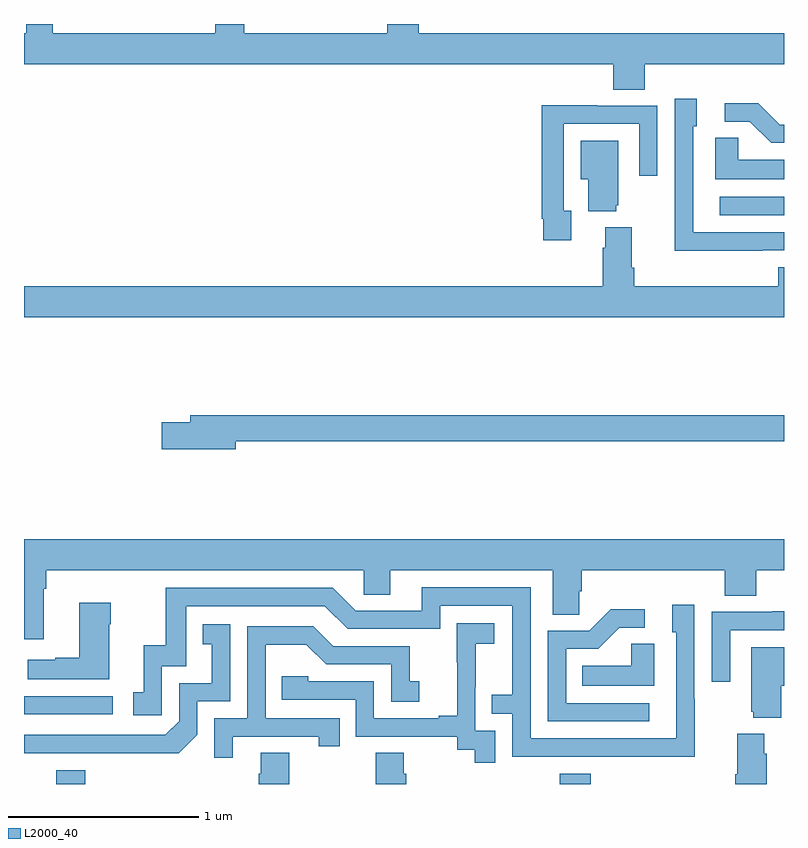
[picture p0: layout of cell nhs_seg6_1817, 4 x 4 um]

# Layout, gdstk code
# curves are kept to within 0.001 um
import gdstk
lib = gdstk.Library(unit=1e-6, precision=1e-09)
def R(c, l, rs):  # rectangles x0, y0, x1, y1
    for r in rs: c.add(gdstk.rectangle(r[:2], r[2:], *l))
def P(c, l, *ps):  # polygons
    for p in ps: c.add(gdstk.Polygon(p, *l))
L2000_40 = (2000, 40)

nhs_seg6_1817 = lib.new_cell('nhs_seg6_1817')
R(nhs_seg6_1817, L2000_40, [(219.17,991.5,219.323,991.573), (221.819,991.5,221.984,991.555), (219,991.866,219.466,991.962), (222.663,994.494,223,994.59)])
P(nhs_seg6_1817, L2000_40, [(222.266,995.288),(223,995.288),(223,995.452),(221.078,995.452),(221.078,995.5),(220.913,995.5),(220.913,995.452),(220.16,995.452),(220.16,995.5),(220.007,995.5),(220.007,995.452),(219.151,995.452),(219.151,995.5),(219.012,995.5),(219.012,995.452),(219,995.452),(219,995.288),(222.101,995.288),(222.101,995.155),(222.266,995.155)],
  [(222.887,994.308),(223,994.308),(223,994.404),(222.522,994.404),(222.522,994.962),(222.541,994.962),(222.541,995.107),(222.426,995.107),(222.426,994.613),(222.424,994.613),(222.424,994.307),(222.887,994.307)],
  [(223,994.971),(222.978,994.971),(222.865,995.084),(222.687,995.084),(222.687,994.986),(222.821,994.986),(222.932,994.875),(223,994.875)],
  [(221.881,994.518),(221.841,994.518),(221.841,994.974),(222.237,994.974),(222.237,994.701),(222.333,994.701),(222.333,995.07),(222.017,995.07),(222.017,995.072),(221.725,995.072),(221.725,994.474),(221.733,994.474),(221.733,994.362),(221.881,994.362)],
  [(223,994.786),(222.759,994.786),(222.759,994.901),(222.638,994.901),(222.638,994.682),(223,994.682)],
  [(222.116,994.545),(222.127,994.545),(222.127,994.885),(221.93,994.885),(221.93,994.682),(221.969,994.682),(221.969,994.514),(222.116,994.514)],
  [(223,994.219),(222.971,994.219),(222.971,994.12),(222.212,994.12),(222.212,994.216),(222.199,994.216),(222.199,994.429),(222.059,994.429),(222.059,994.322),(222.047,994.322),(222.047,994.12),(219,994.12),(219,993.956),(223,993.956)],
  [(220.114,993.304),(223,993.304),(223,993.44),(219.875,993.44),(219.875,993.404),(219.726,993.404),(219.726,993.262),(220.114,993.262)],
  [(219.103,992.528),(219.116,992.528),(219.116,992.624),(220.788,992.624),(220.788,992.497),(220.927,992.497),(220.927,992.624),(221.783,992.624),(221.783,992.392),(221.922,992.392),(221.922,992.515),(221.936,992.515),(221.936,992.624),(222.689,992.624),(222.689,992.491),(222.854,992.491),(222.854,992.624),(223,992.624),(223,992.788),(219,992.788),(219,992.262),(219.103,992.262)],
  [(222.531,991.949),(222.528,991.949),(222.528,992.443),(222.413,992.443),(222.413,992.298),(222.432,992.298),(222.432,991.74),(221.667,991.74),(221.667,992.535),(221.093,992.535),(221.093,992.412),(220.746,992.412),(220.626,992.532),(219.747,992.532),(219.747,992.23),(219.629,992.23),(219.629,991.983),(219.576,991.983),(219.576,991.863),(219.726,991.863),(219.726,992.121),(219.855,992.121),(219.855,992.436),(220.584,992.436),(220.704,992.316),(221.19,992.316),(221.19,992.439),(221.571,992.439),(221.571,991.97),(221.461,991.97),(221.461,991.869),(221.571,991.869),(221.571,991.644),(222.531,991.643)],
  [(219.448,992.342),(219.456,992.342),(219.456,992.455),(219.29,992.455),(219.29,992.165),(219.164,992.165),(219.164,992.155),(219.021,992.155),(219.021,992.051),(219.448,992.051)],
  [(222.292,991.926),(221.853,991.926),(221.853,992.211),(222.022,992.211),(222.133,992.322),(222.268,992.322),(222.268,992.42),(222.089,992.42),(221.976,992.307),(221.757,992.307),(221.757,991.83),(222.292,991.83)],
  [(222.717,992.31),(223,992.31),(223,992.408),(222.937,992.408),(222.937,992.406),(222.621,992.406),(222.621,992.037),(222.717,992.037)],
  [(221.481,991.779),(221.376,991.779),(221.376,992.009),(221.378,992.009),(221.378,992.237),(221.476,992.237),(221.476,992.347),(221.278,992.347),(221.278,992.141),(221.279,992.141),(221.279,991.858),(221.183,991.858),(221.183,991.845),(220.842,991.845),(220.842,992.04),(220.497,992.04),(220.497,992.067),(220.357,992.067),(220.357,991.944),(220.746,991.944),(220.746,991.749),(221.28,991.749),(221.28,991.681),(221.373,991.681),(221.373,991.611),(221.481,991.611)],
  [(219.912,991.758),(219.912,991.935),(220.086,991.935),(220.086,992.341),(219.94,992.341),(219.94,992.235),(219.989,992.235),(219.989,992.031),(219.816,992.031),(219.816,991.83),(219.744,991.758),(219,991.758),(219,991.662),(219.814,991.661)],
  [(220.099,991.749),(220.55,991.749),(220.55,991.698),(220.661,991.698),(220.661,991.845),(220.272,991.845),(220.272,992.234),(220.486,992.234),(220.59,992.13),(220.932,992.13),(220.932,991.932),(221.08,991.932),(221.08,992.041),(221.031,992.041),(221.031,992.226),(220.627,992.226),(220.522,992.331),(220.176,992.331),(220.176,991.845),(220.002,991.845),(220.002,991.638),(220.099,991.638)],
  [(222.316,992.237),(222.195,992.237),(222.195,992.122),(221.938,992.122),(221.938,992.018),(222.316,992.018)],
  [(222.985,992.018),(223,992.018),(223,992.221),(222.827,992.221),(222.827,991.881),(222.839,991.881),(222.839,991.85),(222.985,991.85)],
  [(222.908,991.658),(222.895,991.658),(222.895,991.765),(222.755,991.765),(222.755,991.552),(222.743,991.552),(222.743,991.5),(222.908,991.5)],
  [(220.395,991.664),(220.247,991.664),(220.247,991.554),(220.235,991.554),(220.235,991.5),(220.395,991.5)],
  [(220.852,991.664),(220.852,991.5),(221.012,991.5),(221.012,991.554),(220.999,991.554),(220.999,991.664)])

lib.write_gds('nhs_seg6_1817.gds')
